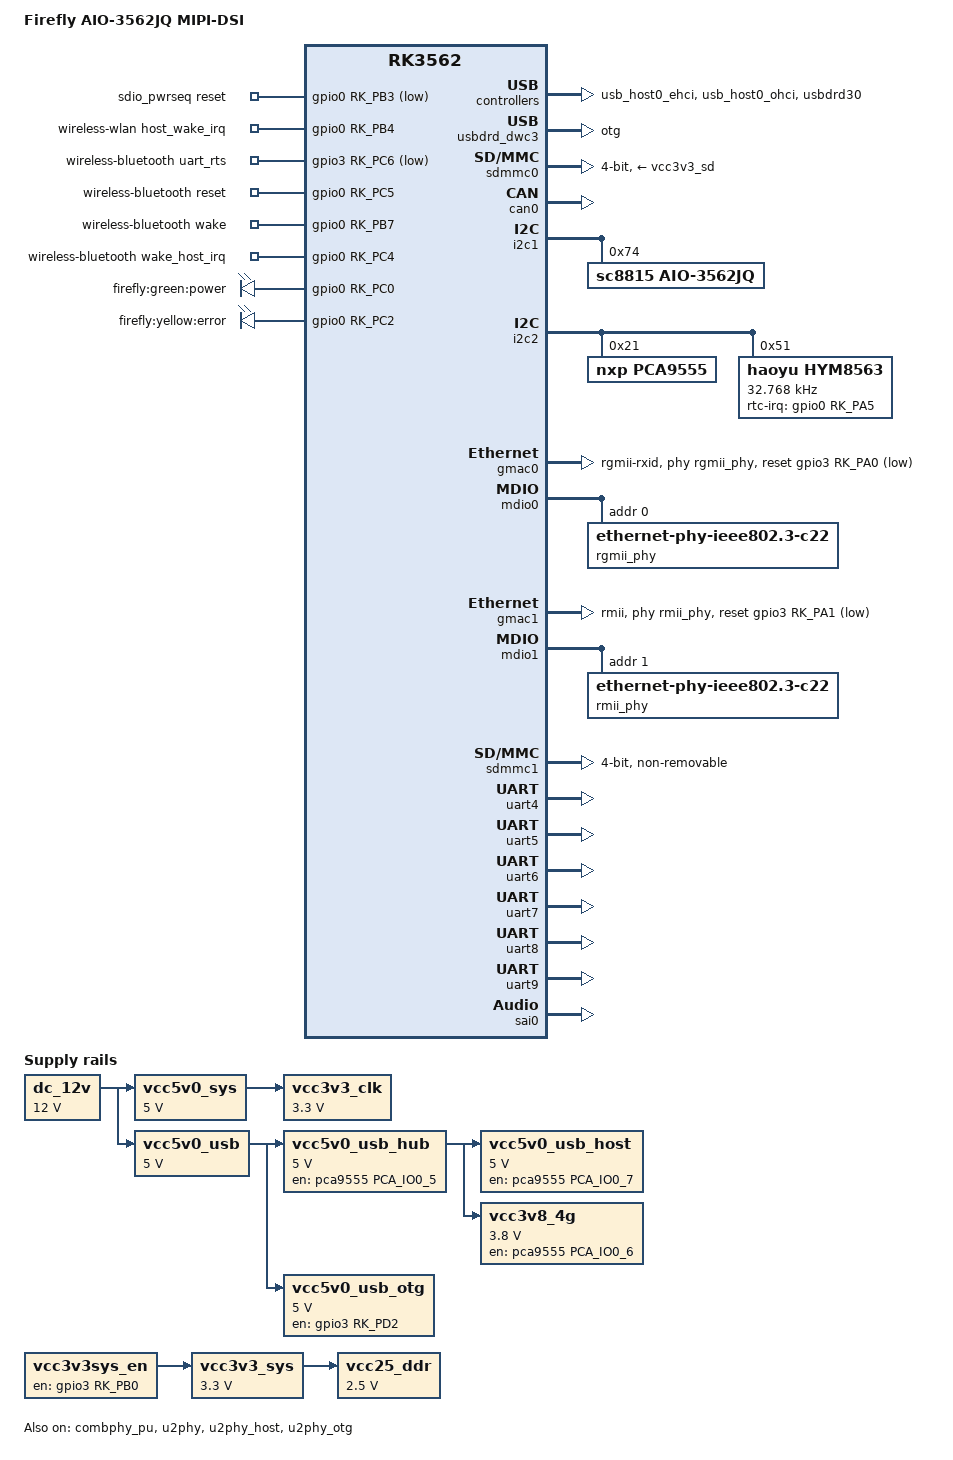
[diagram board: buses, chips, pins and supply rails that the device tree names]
// SPDX-License-Identifier: (GPL-2.0+ OR MIT)
/*
 * Copyright (c) 2022 Rockchip Electronics Co., Ltd.
 *
 */

/dts-v1/;

#include "rk3562j.dtsi"
#include "rk3562-firefly-core.dtsi"
#include <dt-bindings/gpio/gpio.h>
#include <dt-bindings/pinctrl/rockchip.h>
#include <dt-bindings/sensor-dev.h>

/ {
	model = "Firefly AIO-3562JQ MIPI-DSI";
	compatible = "rockchip,aio-3562jq", "rockchip,rk3562";

	dc_12v: dc-12v {
		compatible = "regulator-fixed";
		regulator-name = "dc_12v";
		regulator-always-on;
		regulator-boot-on;
		regulator-min-microvolt = <12000000>;
		regulator-max-microvolt = <12000000>;
	};

	vcc5v0_sys: vcc5v0-sys {
		compatible = "regulator-fixed";
		regulator-name = "vcc5v0_sys";
		regulator-always-on;
		regulator-boot-on;
		regulator-min-microvolt = <5000000>;
		regulator-max-microvolt = <5000000>;
		vin-supply = <&dc_12v>;
	};

	vcc5v0_usb: vcc5v0-usb {
		compatible = "regulator-fixed";
		regulator-name = "vcc5v0_usb";
		regulator-always-on;
		regulator-boot-on;
		regulator-min-microvolt = <5000000>;
		regulator-max-microvolt = <5000000>;
		vin-supply = <&dc_12v>;
	};

	vcc5v0_usb_hub: vcc5v0-usb-hub {
		compatible = "regulator-fixed";
		regulator-name = "vcc5v0_usb_hub";
		regulator-boot-on;
		regulator-min-microvolt = <5000000>;
		regulator-max-microvolt = <5000000>;
		enable-active-high;
		gpio = <&pca9555 PCA_IO0_5 GPIO_ACTIVE_HIGH>;
		vin-supply = <&vcc5v0_usb>;
	};

	vcc5v0_usb_host: vcc5v0-usb-host {
		compatible = "regulator-fixed";
		regulator-name = "vcc5v0_usb_host";
		regulator-boot-on;
		regulator-min-microvolt = <5000000>;
		regulator-max-microvolt = <5000000>;
		enable-active-high;
		gpio = <&pca9555 PCA_IO0_7 GPIO_ACTIVE_HIGH>;
		vin-supply = <&vcc5v0_usb_hub>;
	};

	vcc5v0_usb_otg: vcc5v0-usb-otg {
		compatible = "regulator-fixed";
		regulator-name = "vcc5v0_usb_otg";
		regulator-min-microvolt = <5000000>;
		regulator-max-microvolt = <5000000>;
		enable-active-high;
		gpio = <&gpio3 RK_PD2 GPIO_ACTIVE_HIGH>;
		vin-supply = <&vcc5v0_usb>;
		pinctrl-names = "default";
		pinctrl-0 = <&usb_otg_pwren>;
	};

	vcc3v8_4g: vcc3v8-4g {
		compatible = "regulator-fixed";
		regulator-name = "vcc3v8_4g";
		regulator-min-microvolt = <3800000>;
		regulator-max-microvolt = <3800000>;
		enable-active-high;
		regulator-boot-on;
		regulator-always-on;
		gpio = <&pca9555 PCA_IO0_6 GPIO_ACTIVE_HIGH>;
		vin-supply = <&vcc5v0_usb_hub>;
	};

	vcc3v3_clk: vcc3v3-clk {
		compatible = "regulator-fixed";
		regulator-name = "vcc3v3_clk";
		regulator-min-microvolt = <3300000>;
		regulator-max-microvolt = <3300000>;
		vin-supply = <&vcc5v0_sys>;
	};

	vcc3v3sys_en: vcc3v3-sys-en {
		compatible = "regulator-fixed";
		regulator-name = "vcc3v3sys_en";
		regulator-boot-on;
		enable-active-high;
		gpio = <&gpio3 RK_PB0 GPIO_ACTIVE_HIGH>;
		pinctrl-names = "default";
		pinctrl-0 = <&vcc3v3_sys_en>;
	};

	vcc3v3_sys: vcc-sys {
		compatible = "regulator-fixed";
		regulator-name = "vcc3v3_sys";
		regulator-boot-on;
		regulator-min-microvolt = <3300000>;
		regulator-max-microvolt = <3300000>;
		vin-supply = <&vcc3v3sys_en>;
	};

	vcc25_ddr: vcc25-ddr {
		compatible = "regulator-fixed";
		regulator-name = "vcc25_ddr";
		regulator-always-on;
		regulator-boot-on;
		regulator-min-microvolt = <2500000>;
		regulator-max-microvolt = <2500000>;
		vin-supply = <&vcc3v3_sys>;
	};

	sdio_pwrseq: sdio-pwrseq {
		compatible = "mmc-pwrseq-simple";
		clocks = <&rk809 1>;
		clock-names = "ext_clock";
		/*
		 * On the module itself this is one of these (depending
		 * on the actual card populated):
		 * - SDIO_RESET_L_WL_REG_ON
		 * - PDN (power down when low)
		 */
		post-power-on-delay-ms = <200>;
		reset-gpios = <&gpio0 RK_PB3 GPIO_ACTIVE_LOW>;
	};

	wireless-wlan {
		compatible = "wlan-platdata";
		rockchip,grf = <&sys_grf>;
		wifi_chip_type = "ap6256";
		pinctrl-names = "default";
		pinctrl-0 = <&wifi_host_wake_irq>;
		WIFI,host_wake_irq = <&gpio0 RK_PB4 GPIO_ACTIVE_HIGH>;
		//WIFI,poweren_gpio = <&gpio0 RK_PB3 GPIO_ACTIVE_HIGH>;
		status = "okay";
	};

	wireless-bluetooth {
		compatible = "bluetooth-platdata";
		clocks = <&rk809 1>;
		clock-names = "ext_clock";
		//wifi-bt-power-toggle;
		uart_rts_gpios = <&gpio3 RK_PC6 GPIO_ACTIVE_LOW>;
		pinctrl-names = "default", "rts_gpio";
		pinctrl-0 = <&uart4m0_rtsn>;
		pinctrl-1 = <&uart4_gpios>;
		BT,reset_gpio = <&gpio0 RK_PC5 GPIO_ACTIVE_HIGH>;
		BT,wake_gpio     = <&gpio0 RK_PB7 GPIO_ACTIVE_HIGH>;
		BT,wake_host_irq = <&gpio0 RK_PC4 GPIO_ACTIVE_HIGH>;
		status = "okay";
	};

	firefly_leds: leds {
		status = "okay";
		compatible = "gpio-leds";

		power_led: power {
			label = "firefly:green:power";
			linux,default-trigger = "ir-power-click";
			default-state = "on";
			gpios = <&gpio0 RK_PC0 GPIO_ACTIVE_HIGH>;
			pinctrl-names = "default";
			pinctrl-0 = <&led_power>;
		};

		error_led: error {
			label = "firefly:yellow:error";
			linux,default-trigger = "ir-error-click";
			default-state = "off";
			gpios = <&gpio0 RK_PC2 GPIO_ACTIVE_HIGH>;
			pinctrl-names = "default";
			pinctrl-0 = <&led_error>;
		};
	};

	rk809_sound: rk809-sound {
		status = "okay";
		compatible = "rockchip,multicodecs-card";
		rockchip,card-name = "rockchip-rk809";
		rockchip,format = "i2s";
		rockchip,mclk-fs = <256>;
		rockchip,cpu = <&sai0>;
		rockchip,codec = <&rk809_codec>;
	};
};

/* USB3 mux with PCIE2x1 */
&combphy_pu {
	status = "okay";
};

/* USB */
&u2phy {
	status = "okay";
};

&u2phy_host {
	status = "okay";
	phy-supply = <&vcc5v0_usb_host>;
};

&u2phy_otg {
	status = "okay";
	vbus-supply = <&vcc5v0_usb_otg>;
};

&usb_host0_ehci {
	status = "okay";
};

&usb_host0_ohci {
	status = "okay";
};

&usbdrd30 {
	status = "okay";
};

&usbdrd_dwc3 {
	status = "okay";
	dr_mode = "otg";
	extcon = <&u2phy>;
};

/* sd card */
&sdmmc0 {
	no-sdio;
	no-mmc;
	bus-width = <4>;
	cap-mmc-highspeed;
	cap-sd-highspeed;
	disable-wp;
	sd-uhs-sdr104;
	vmmc-supply = <&vcc3v3_sd>;
	vqmmc-supply = <&vccio_sd>;
	pinctrl-names = "default";
	pinctrl-0 = <&sdmmc0_bus4 &sdmmc0_clk &sdmmc0_cmd &sdmmc0_det>;
	status = "okay";
};

&can0 {
	status = "okay";
	assigned-clocks = <&cru CLK_CAN0>;
	assigned-clock-rates = <200000000>;
	pinctrl-names = "default";
	pinctrl-0 = <&can0m1_pins>;
};

/* for future extensibility */
&i2c1 {
	status = "okay";
	pinctrl-names = "default";
	pinctrl-0 = <&i2c1m1_xfer>;

	sc8815: sc8815@74 {
		status = "okay";
		reg = <0x74>;
		compatible = "sc8815,aio-3562jq";
	};
};

/* i2c to gpio */
&i2c2 {
	status = "okay";
	pinctrl-names = "default";
	pinctrl-0 = <&i2c2m0_xfer>;

	pca9555: gpio@21 {
		status = "okay";
		compatible = "nxp,pca9555";
		reg = <0x21>;
		gpio-controller;
		#gpio-cells = <2>;
		gpio-group-num = <200>;
	};

	hym8563: hym8563@51 {
		status = "okay";
		compatible = "haoyu,hym8563";
		reg = <0x51>;
		#clock-cells = <0>;
		rtc-irq-gpio = <&gpio0 RK_PA5 IRQ_TYPE_EDGE_FALLING>;
		clock-frequency = <32768>;
	};
};

/* 1G Ethernet */
&gmac0 {
	/* Use rgmii-rxid mode to disable rx delay inside Soc */
	phy-mode = "rgmii-rxid";
	clock_in_out = "output";

	snps,reset-gpio = <&gpio3 RK_PA0 GPIO_ACTIVE_LOW>;
	snps,reset-active-low;
	/* Reset time is 20ms, 100ms for rtl8211f */
	snps,reset-delays-us = <0 20000 100000>;

	tx_delay = <0x2e>;
	/* rx_delay = <0x3f>; */

	pinctrl-names = "default";
	pinctrl-0 = <&rgmiim0_miim
		     &rgmiim0_tx_bus2
		     &rgmiim0_rx_bus2
		     &rgmiim0_rgmii_clk
		     &rgmiim0_rgmii_bus>;

	phy-handle = <&rgmii_phy>;
	status = "okay";
};

&mdio0 {
	rgmii_phy: phy@0 {
		compatible = "ethernet-phy-ieee802.3-c22";
		reg = <0x0>;
	};
};

/* 100M Ethernet */
&gmac1 {
	phy-mode = "rmii";
	clock_in_out = "input";

	snps,reset-gpio = <&gpio3 RK_PA1 GPIO_ACTIVE_LOW>;
	snps,reset-active-low;
	/* Reset time is 20ms, 100ms for rtl8211f */
	snps,reset-delays-us = <0 20000 100000>;

	pinctrl-names = "default";
	pinctrl-0 = <&rmii_pins>;

	phy-handle = <&rmii_phy>;
	status = "okay";
};

&mdio1 {
	rmii_phy: phy@1 {
		compatible = "ethernet-phy-ieee802.3-c22";
		reg = <0x1>;
	};
};

/* sdio for wifi/bt */
&sdmmc1 {
	max-frequency = <50000000>;
	no-sd;
	no-mmc;
	bus-width = <4>;
	disable-wp;
	cap-sd-highspeed;
	cap-sdio-irq;
	keep-power-in-suspend;
	mmc-pwrseq = <&sdio_pwrseq>;
	non-removable;
	pinctrl-names = "default";
	pinctrl-0 = <&sdmmc1_bus4 &sdmmc1_cmd &sdmmc1_clk>;
	//sd-uhs-sdr104;
	status = "okay";
};

&uart4 {
	status = "okay";
	pinctrl-names = "default";
	pinctrl-0 = <&uart4m0_xfer &uart4m0_ctsn>;
};

/* RS485 */
&uart5 {
	status = "okay";
	pinctrl-names = "default";
	pinctrl-0 = <&uart5m1_xfer>;
};

&uart6 {
	status = "okay";
	pinctrl-names = "default";
	pinctrl-0 = <&uart6m0_xfer>;
};

&uart7 {
	status = "okay";
	pinctrl-names = "default";
	pinctrl-0 = <&uart7m0_xfer>;
};

/* RS232 */
&uart8 {
	status = "okay";
	pinctrl-names = "default";
	pinctrl-0 = <&uart8m0_xfer>;
};

&uart9 {
	status = "okay";
	pinctrl-names = "default";
	pinctrl-0 = <&uart9m1_xfer>;
};

/* RK3562J has no npu */
&pwm6 {
	status = "disabled";
};

&vdd_npu {
	status = "disabled";
};

&rknpu {
	status = "disabled";
};

&rknpu_mmu {
	status = "disabled";
};

/* for rk809_sound */
&sai0 {
	status = "okay";
	pinctrl-names = "default";
	pinctrl-0 = <&i2s0m0_lrck
		     &i2s0m0_sclk
		     &i2s0m0_sdi0
		     &i2s0m0_sdo0>;
};

&pinctrl {
	power {
		vcc3v3_sys_en: vcc3v3-sys-en {
			rockchip,pins = <3 RK_PB0 RK_FUNC_GPIO &pcfg_pull_none>;
		};
	};

	usb {
		usb_otg_pwren: usb-otg-pwren {
			rockchip,pins = <3 RK_PD2 RK_FUNC_GPIO &pcfg_pull_none>;
		};
	};

	firefly-leds {
		led_power: led-power {
			rockchip,pins = <0 RK_PC0 RK_FUNC_GPIO &pcfg_pull_none>;
		};

		led_error: led-error {
			rockchip,pins = <0 RK_PC2 RK_FUNC_GPIO &pcfg_pull_none>;
		};
	};

	wireless-wlan {
		wifi_host_wake_irq: wifi-host-wake-irq {
			rockchip,pins = <0 RK_PB4 RK_FUNC_GPIO &pcfg_pull_down>;
		};
	};

	wireless-bluetooth {
		uart4_gpios: uart4-gpios {
			rockchip,pins = <3 RK_PC6 RK_FUNC_GPIO &pcfg_pull_none>;
		};
	};
};
